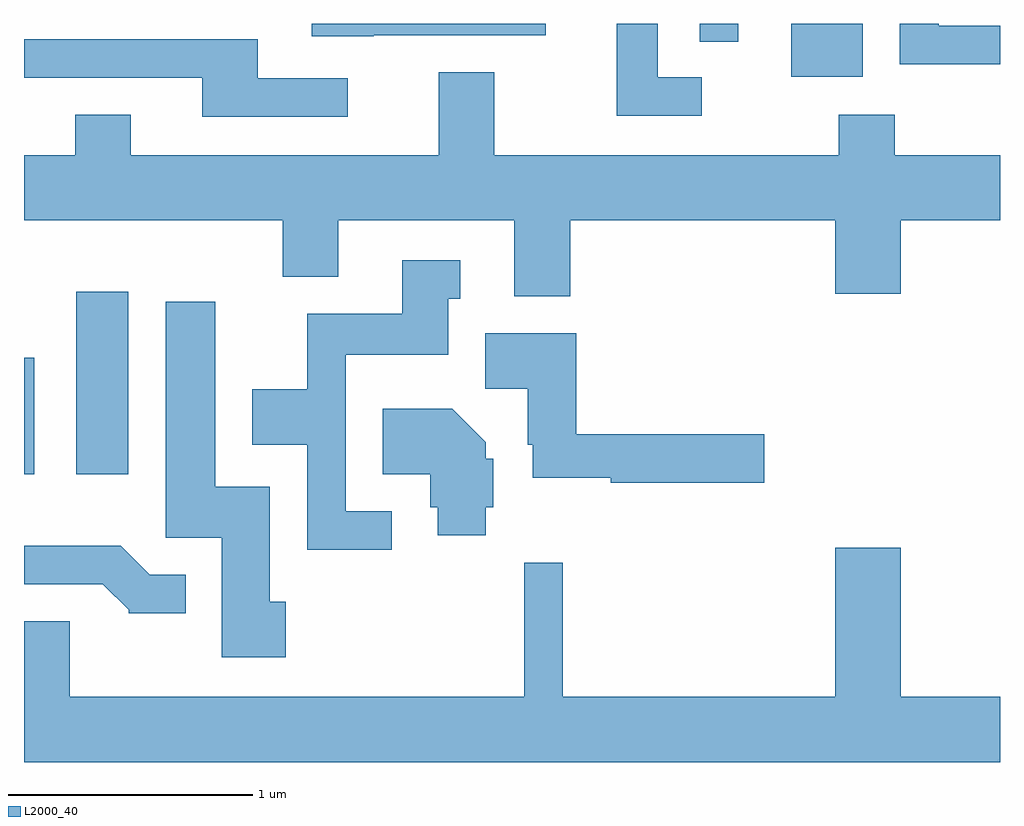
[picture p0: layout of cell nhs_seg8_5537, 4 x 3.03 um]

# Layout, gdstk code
import gdstk
lib = gdstk.Library(unit=1e-6, precision=1e-09)
def R(c, l, rs):  # rectangles x0, y0, x1, y1
    for r in rs: c.add(gdstk.rectangle(r[:2], r[2:], *l))
def P(c, l, *ps):  # polygons
    for p in ps: c.add(gdstk.Polygon(p, *l))
L2000_40 = (2000, 40)

nhs_seg8_5537 = lib.new_cell('nhs_seg8_5537')
R(nhs_seg8_5537, L2000_40, [(351.611,1826.496,351.654,1826.974), (351.826,1826.496,352.039,1827.244), (354.756,1828.126,355.049,1828.342), (354.381,1828.268,354.539,1828.342)])
P(nhs_seg8_5537, L2000_40, [(355.611,1828.334),(355.359,1828.334),(355.359,1828.342),(355.201,1828.342),(355.201,1828.176),(355.611,1828.176)],
  [(353.045,1828.296),(353.749,1828.296),(353.749,1828.342),(352.791,1828.342),(352.791,1828.291),(353.045,1828.291)],
  [(354.388,1828.124),(354.209,1828.124),(354.209,1828.342),(354.041,1828.342),(354.041,1827.966),(354.388,1827.966)],
  [(352.938,1828.119),(352.569,1828.119),(352.569,1828.279),(351.611,1828.279),(351.611,1828.121),(352.341,1828.121),(352.341,1827.961),(352.938,1827.961)],
  [(353.849,1827.536),(354.936,1827.536),(354.936,1827.236),(355.204,1827.236),(355.204,1827.536),(355.611,1827.536),(355.611,1827.804),(355.179,1827.804),(355.179,1827.969),(354.951,1827.969),(354.951,1827.804),(353.539,1827.804),(353.539,1828.144),(353.311,1828.144),(353.311,1827.804),(352.049,1827.804),(352.049,1827.969),(351.821,1827.969),(351.821,1827.804),(351.611,1827.804),(351.611,1827.536),(352.671,1827.536),(352.671,1827.306),(352.899,1827.306),(352.899,1827.536),(353.621,1827.536),(353.621,1827.226),(353.849,1827.226)],
  [(353.118,1826.344),(352.929,1826.344),(352.929,1826.986),(353.349,1826.986),(353.349,1827.216),(353.398,1827.216),(353.398,1827.374),(353.161,1827.374),(353.161,1827.154),(352.771,1827.154),(352.771,1826.844),(352.546,1826.844),(352.546,1826.616),(352.771,1826.616),(352.771,1826.186),(353.118,1826.186)],
  [(352.684,1825.974),(352.619,1825.974),(352.619,1826.444),(352.394,1826.444),(352.394,1827.204),(352.191,1827.204),(352.191,1826.236),(352.421,1826.236),(352.421,1825.746),(352.684,1825.746)],
  [(354.644,1826.659),(353.874,1826.659),(353.874,1827.074),(353.501,1827.074),(353.501,1826.846),(353.676,1826.846),(353.676,1826.616),(353.696,1826.616),(353.696,1826.481),(354.016,1826.481),(354.016,1826.461),(354.644,1826.461)],
  [(353.504,1826.361),(353.534,1826.361),(353.534,1826.559),(353.504,1826.559),(353.504,1826.627),(353.367,1826.764),(353.081,1826.764),(353.081,1826.496),(353.276,1826.496),(353.276,1826.361),(353.306,1826.361),(353.306,1826.246),(353.504,1826.246)],
  [(352.273,1826.084),(352.127,1826.084),(352.007,1826.204),(351.611,1826.204),(351.611,1826.046),(351.934,1826.046),(352.04,1825.94),(352.04,1825.926),(352.273,1825.926)],
  [(355.611,1825.584),(355.204,1825.584),(355.204,1826.194),(354.936,1826.194),(354.936,1825.584),(353.819,1825.584),(353.819,1826.133),(353.661,1826.133),(353.661,1825.584),(351.799,1825.584),(351.799,1825.894),(351.611,1825.894),(351.611,1825.316),(355.611,1825.316)])

lib.write_gds('nhs_seg8_5537.gds')
